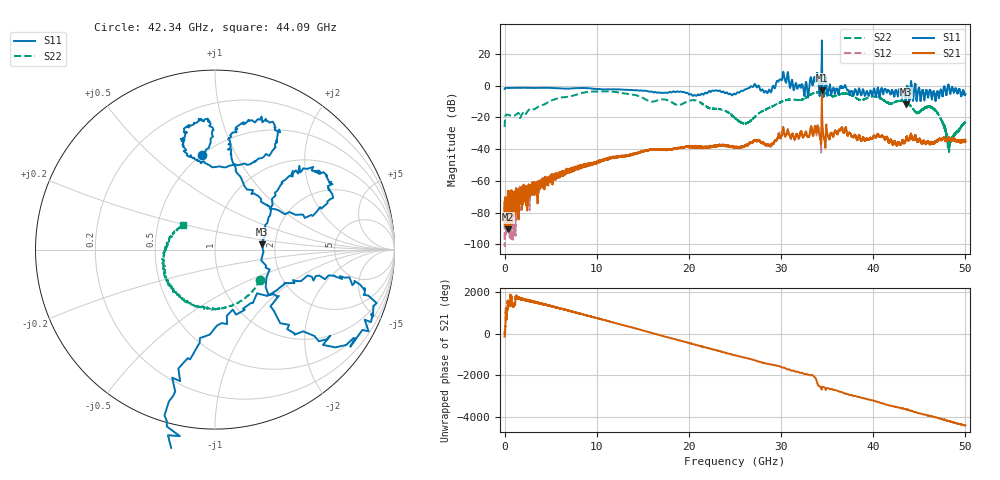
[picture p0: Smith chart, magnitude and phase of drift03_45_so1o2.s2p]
!Created with skrf (http://scikit-rf.org).
# Hz S RI R 50.0
!freq ReS11 ImS11 ReS21 ImS21 ReS12 ImS12 ReS22 ImS22
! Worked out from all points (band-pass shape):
!   10000 points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, 5.3 MHz to 50 GHz, reference 50 ohm
!   highest |S21| = -2.95 dB at 34.43 GHz (marker M1); lowest = -90.6 dB at 400.3 MHz (marker M2)
!   |S21| within 3 dB of the highest: 34.42756 GHz to 34.4354 GHz (7.84 MHz wide, 0.0228 % of centre)
!   lowest |S11| = -11.7 dB at 43.52 GHz (marker M3), VSWR 1.71, Z = 84.8 + j5.26 ohm
!   |S11| at or under -10 dB: 43.48832 GHz to 43.54349 GHz (55.17 MHz wide, 0.127 % of centre)
!   |S22| runs from -41.8 to -3.6 dB; largest |S21 - S12| = 0.24
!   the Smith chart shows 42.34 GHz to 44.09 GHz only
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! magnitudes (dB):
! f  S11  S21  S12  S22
! 5.3 MHz  -2.1  -73.9  -86.8  -26.0
! 400.3 MHz  -1.4  -90.6  -70.5  -18.4
! 1.995 GHz  -1.3  -70.2  -67.9  -17.3
! 8.34 GHz  -1.5  -51.2  -51.4  -4.7
! 16.67 GHz  -4.4  -40.3  -40.2  -9.2
! 20.75 GHz  -6.3  -38.5  -38.2  -9.3
! 25.01 GHz  -5.5  -38.9  -39.1  -20.5
! 26.24 GHz  -2.2  -37.3  -37.4  -23.6
! 27.39 GHz  -1.1  -35.0  -34.8  -18.4
! 28.72 GHz  -2.5  -37.6  -37.6  -14.0
! 30.14 GHz  4.5  -29.5  -29.7  -9.9
! 32.74 GHz  2.0  -29.7  -29.2  -7.3
! 33.34 GHz  2.5  -27.4  -27.8  -5.3
! 33.82 GHz  4.0  -29.1  -29.5  -4.3
! 34.43 GHz  28.5  -2.9  -5.1  -4.0
! 36.48 GHz  -0.3  -27.8  -28.1  -5.2
! 41.67 GHz  -3.0  -35.5  -35.5  -10.9
! 43.52 GHz  -11.7  -34.5  -34.7  -10.5
! 44.74 GHz  -8.7  -34.5  -34.8  -17.3
! 46.66 GHz  -5.2  -35.7  -35.7  -15.2
! 48.25 GHz  -1.5  -32.8  -33.3  -36.5
! 50 GHz  -5.3  -35.3  -35.4  -23.2
